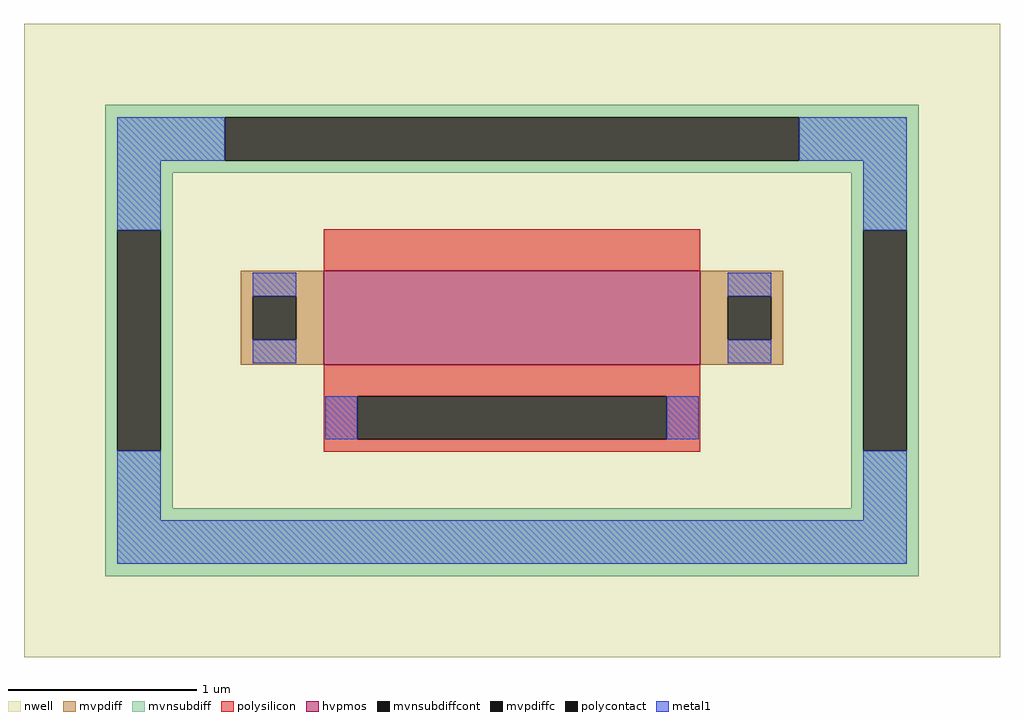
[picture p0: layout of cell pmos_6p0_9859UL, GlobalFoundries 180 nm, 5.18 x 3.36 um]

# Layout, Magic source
magic
tech gf180mcuD
magscale 1 10
<< nwell >>
rect -518 -336 518 336
<< hvpmos >>
rect -200 -26 200 74
<< mvpdiff >>
rect -288 47 -200 74
rect -288 1 -275 47
rect -229 1 -200 47
rect -288 -26 -200 1
rect 200 47 288 74
rect 200 1 229 47
rect 275 1 288 47
rect 200 -26 288 1
<< mvpdiffc >>
rect -275 1 -229 47
rect 229 1 275 47
<< mvnsubdiff >>
rect -432 237 432 250
rect -432 191 -305 237
rect 305 191 432 237
rect -432 178 432 191
rect -432 117 -360 178
rect -432 -117 -419 117
rect -373 -117 -360 117
rect 360 117 432 178
rect -432 -178 -360 -117
rect 360 -117 373 117
rect 419 -117 432 117
rect 360 -178 432 -117
rect -432 -250 432 -178
<< mvnsubdiffcont >>
rect -305 191 305 237
rect -419 -117 -373 117
rect 373 -117 419 117
<< polysilicon >>
rect -200 74 200 118
rect -200 -59 200 -26
rect -200 -105 -164 -59
rect 164 -105 200 -59
rect -200 -118 200 -105
<< polycontact >>
rect -164 -105 164 -59
<< metal1 >>
rect -419 191 -305 237
rect 305 191 419 237
rect -419 117 -373 191
rect 373 117 419 191
rect -275 47 -229 72
rect -275 -24 -229 1
rect 229 47 275 72
rect 229 -24 275 1
rect -198 -105 -164 -59
rect 164 -105 198 -59
rect -419 -191 -373 -117
rect 373 -191 419 -117
rect -419 -237 419 -191
<< properties >>
string FIXED_BBOX -396 -214 396 214
string GDS_END 33140
string GDS_FILE ../gds/simple_por.gds.gz
string GDS_START 30128
<< end >>
